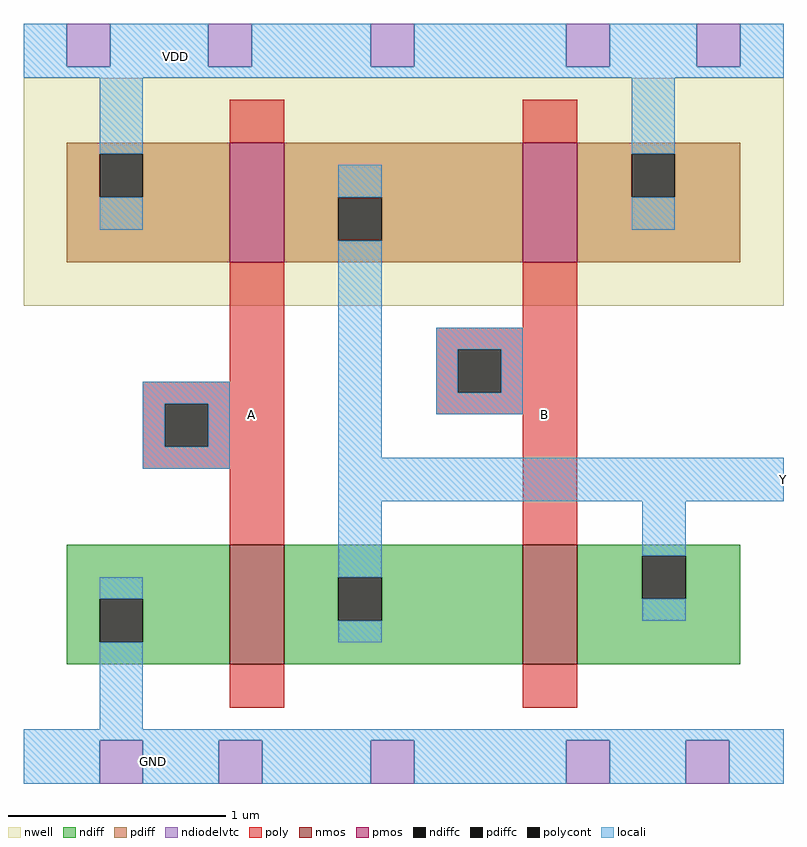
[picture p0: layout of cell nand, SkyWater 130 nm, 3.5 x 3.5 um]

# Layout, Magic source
magic
tech sky130A
<< nwell >>
rect -85 0 265 105
<< nmos >>
rect 10 -165 35 -110
rect 145 -165 170 -110
<< pmos >>
rect 10 20 35 75
rect 145 20 170 75
<< ndiff >>
rect -65 -135 10 -110
rect -65 -155 -50 -135
rect -30 -155 10 -135
rect -65 -165 10 -155
rect 35 -125 145 -110
rect 35 -145 60 -125
rect 80 -145 145 -125
rect 35 -165 145 -145
rect 170 -115 245 -110
rect 170 -135 200 -115
rect 220 -135 245 -115
rect 170 -165 245 -135
<< pdiff >>
rect -65 70 10 75
rect -65 50 -50 70
rect -30 50 10 70
rect -65 20 10 50
rect 35 50 145 75
rect 35 30 60 50
rect 80 30 145 50
rect 35 20 145 30
rect 170 70 245 75
rect 170 50 195 70
rect 215 50 245 70
rect 170 20 245 50
<< ndiffc >>
rect -50 -155 -30 -135
rect 60 -145 80 -125
rect 200 -135 220 -115
<< pdiffc >>
rect -50 50 -30 70
rect 60 30 80 50
rect 195 50 215 70
<< poly >>
rect 10 75 35 95
rect 145 75 170 95
rect 10 -35 35 20
rect 145 -10 170 20
rect -30 -45 35 -35
rect -30 -65 -20 -45
rect 0 -65 35 -45
rect 105 -20 170 -10
rect 105 -40 115 -20
rect 135 -40 170 -20
rect 105 -50 170 -40
rect -30 -75 35 -65
rect 10 -110 35 -75
rect 145 -110 170 -50
rect 10 -185 35 -165
rect 145 -185 170 -165
<< polycont >>
rect -20 -65 0 -45
rect 115 -40 135 -20
<< ndiodelvtc >>
rect -65 110 -45 130
rect 0 110 20 130
rect 75 110 95 130
rect 165 110 185 130
rect 225 110 245 130
rect -50 -220 -30 -200
rect 5 -220 25 -200
rect 75 -220 95 -200
rect 165 -220 185 -200
rect 220 -220 240 -200
<< locali >>
rect -85 110 -65 130
rect -45 110 0 130
rect 20 110 75 130
rect 95 110 165 130
rect 185 110 225 130
rect 245 110 265 130
rect -85 105 265 110
rect -50 70 -30 105
rect 195 70 215 105
rect -50 35 -30 50
rect 60 50 80 65
rect 195 35 215 50
rect -30 -45 10 -35
rect -30 -65 -20 -45
rect 0 -65 10 -45
rect -30 -75 10 -65
rect 60 -70 80 30
rect 105 -20 145 -10
rect 105 -40 115 -20
rect 135 -40 145 -20
rect 105 -50 145 -40
rect 60 -90 265 -70
rect 60 -125 80 -90
rect -50 -135 -30 -125
rect 200 -115 220 -90
rect 200 -145 220 -135
rect 60 -155 80 -145
rect -50 -195 -30 -155
rect -85 -200 265 -195
rect -85 -220 -50 -200
rect -30 -220 5 -200
rect 25 -220 75 -200
rect 95 -220 165 -200
rect 185 -220 220 -200
rect 240 -220 265 -200
<< labels >>
rlabel poly 20 -50 20 -50 1 A
port 1 n
rlabel locali -15 115 -15 115 1 VDD
port 5 n
rlabel poly 155 -50 155 -50 1 B
port 2 n
rlabel locali -25 -210 -25 -210 1 GND
port 4 n
rlabel locali 265 -80 265 -80 7 Y
port 3 w
<< end >>
